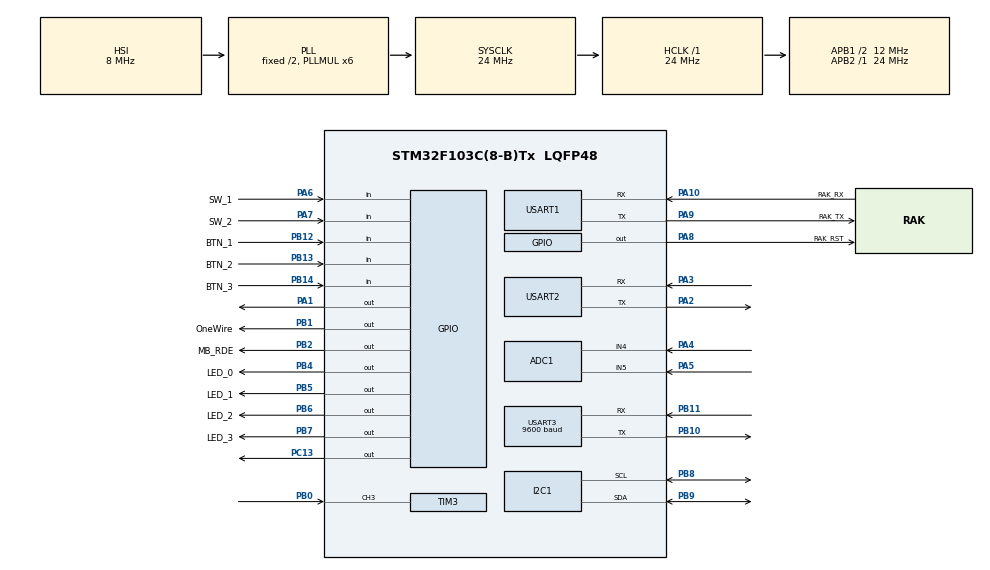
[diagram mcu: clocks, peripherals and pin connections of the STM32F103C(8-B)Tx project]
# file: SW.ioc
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ADC1.Channel-4\#ChannelRegularConversion=ADC_CHANNEL_4
ADC1.Channel-5\#ChannelRegularConversion=ADC_CHANNEL_5
ADC1.ContinuousConvMode=ENABLE
ADC1.DiscontinuousConvMode=DISABLE
ADC1.EnableRegularConversion=ENABLE
ADC1.NbrOfConversion=2
ADC1.NbrOfConversionFlag=1
ADC1.Rank-4\#ChannelRegularConversion=1
ADC1.Rank-5\#ChannelRegularConversion=2
ADC1.SamplingTime-4\#ChannelRegularConversion=ADC_SAMPLETIME_7CYCLES_5
ADC1.SamplingTime-5\#ChannelRegularConversion=ADC_SAMPLETIME_7CYCLES_5
ADC1.master=1
FREERTOS.HEAP_NUMBER=4
FREERTOS.MEMORY_ALLOCATION=2
FREERTOS.Tasks01=defaultTask,0,512,StartDefaultTask,Default,NULL,Static,defaultTaskBuffer,defaultTaskControlBlock
FREERTOS.configMAX_TASK_NAME_LEN=30
FREERTOS.configTOTAL_HEAP_SIZE=10240
FREERTOS.configUSE_TIMERS=1
I2C1.I2C_Mode=I2C_Standard
Mcu.Family=STM32F1
Mcu.Name=STM32F103C(8-B)Tx
Mcu.Package=LQFP48
NVIC.PriorityGroup=NVIC_PRIORITYGROUP_4
NVIC.TIM1_UP_IRQn=true\:0\:0\:false\:false\:true\:false\:false\:true
NVIC.TIM2_IRQn=true\:0\:0\:false\:false\:true\:true\:true\:true
NVIC.TIM3_IRQn=true\:0\:0\:false\:false\:true\:true\:true\:true
NVIC.TimeBase=TIM1_UP_IRQn
NVIC.TimeBaseIP=TIM1
NVIC.USART1_IRQn=true\:0\:0\:false\:false\:true\:true\:true\:true
NVIC.USART2_IRQn=true\:0\:0\:false\:false\:true\:true\:true\:true
NVIC.USART3_IRQn=true\:0\:0\:false\:false\:true\:true\:true\:true
PA1.Signal=GPIO_Output
PA10.GPIO_Label=RAK_RX
PA10.Mode=Asynchronous
PA10.Signal=USART1_RX
PA13.Mode=Serial_Wire
PA13.Signal=SYS_JTMS-SWDIO
PA14.Mode=Serial_Wire
PA14.Signal=SYS_JTCK-SWCLK
PA2.Mode=Asynchronous
PA2.Signal=USART2_TX
PA3.Mode=Asynchronous
PA3.Signal=USART2_RX
PA4.Signal=ADCx_IN4
PA5.Signal=ADCx_IN5
PA6.GPIO_Label=SW_1
PA6.Signal=GPIO_Input
PA7.GPIO_Label=SW_2
PA7.Signal=GPIO_Input
PA8.GPIO_Label=RAK_RST
PA8.PinState=GPIO_PIN_RESET
PA8.Signal=GPIO_Output
PA9.GPIO_Label=RAK_TX
PA9.Mode=Asynchronous
PA9.Signal=USART1_TX
PB0.Signal=S_TIM3_CH3
PB1.GPIO_Label=OneWire
PB1.Signal=GPIO_Output
PB10.Mode=Asynchronous
PB10.Signal=USART3_TX
PB11.Mode=Asynchronous
PB11.Signal=USART3_RX
PB12.GPIO_Label=BTN_1
PB12.GPIO_PuPd=GPIO_PULLUP
PB12.Signal=GPIO_Input
PB13.GPIO_Label=BTN_2
PB13.GPIO_PuPd=GPIO_PULLUP
PB13.Signal=GPIO_Input
PB14.GPIO_Label=BTN_3
PB14.GPIO_PuPd=GPIO_PULLUP
PB14.Signal=GPIO_Input
PB2.GPIO_Label=MB_RDE
PB2.GPIO_PuPd=GPIO_PULLUP
PB2.Signal=GPIO_Output
PB4.GPIO_Label=LED_0
PB4.Signal=GPIO_Output
PB5.GPIO_Label=LED_1
PB5.Signal=GPIO_Output
PB6.GPIO_Label=LED_2
PB6.Signal=GPIO_Output
PB7.GPIO_Label=LED_3
PB7.Signal=GPIO_Output
PB8.Mode=I2C
PB8.Signal=I2C1_SCL
PB9.Mode=I2C
PB9.Signal=I2C1_SDA
PC13-TAMPER-RTC.Signal=GPIO_Output
PC14-OSC32_IN.Mode=LSE-External-Oscillator
PC14-OSC32_IN.Signal=RCC_OSC32_IN
PC15-OSC32_OUT.Mode=LSE-External-Oscillator
PC15-OSC32_OUT.Signal=RCC_OSC32_OUT
PD0-OSC_IN.Mode=HSE-External-Oscillator
PD0-OSC_IN.Signal=RCC_OSC_IN
PD1-OSC_OUT.Mode=HSE-External-Oscillator
PD1-OSC_OUT.Signal=RCC_OSC_OUT
ProjectManager.HeapSize=0x200
ProjectManager.StackSize=0x400
ProjectManager.TargetToolchain=STM32CubeIDE
RCC.AHBFreq_Value=24000000
RCC.APB1CLKDivider=RCC_HCLK_DIV2
RCC.APB1Freq_Value=12000000
RCC.APB1TimFreq_Value=24000000
RCC.APB2Freq_Value=24000000
RCC.APB2TimFreq_Value=24000000
RCC.DATA_CACHE_ENABLE=1
RCC.HCLKFreq_Value=24000000
RCC.HSE_VALUE=12000000
RCC.INSTRUCTION_CACHE_ENABLE=1
RCC.PLLMUL=RCC_PLL_MUL6
RCC.PWR_Regulator_Voltage_Scale=PWR_REGULATOR_VOLTAGE_SCALE1
RCC.RTCClockSelection=RCC_RTCCLKSOURCE_LSE
RCC.SYSCLKFreq_VALUE=24000000
RCC.SYSCLKSource=RCC_SYSCLKSOURCE_PLLCLK
RCC.USBFreq_Value=24000000
SH.ADCx_IN4.0=ADC1_IN4,IN4
SH.ADCx_IN5.0=ADC1_IN5,IN5
SH.S_TIM3_CH3.0=TIM3_CH3,Input_Capture3_from_TI3
TIM2.Period=49
TIM2.Prescaler=23
TIM3.Channel-Input_Capture3_from_TI3=TIM_CHANNEL_3
TIM3.Period=0xffff-1
TIM3.Prescaler=0
TIM4.Period=0xffff -1
TIM4.Prescaler=24-1
USART1.VirtualMode=VM_ASYNC
USART2.VirtualMode=VM_ASYNC
USART3.BaudRate=9600
USART3.VirtualMode=VM_ASYNC
VP_ADC1_TempSens_Input.Mode=IN-TempSens
VP_FREERTOS_VS_CMSIS_V1.Mode=CMSIS_V1
VP_SYS_VS_tim1.Mode=TIM1
VP_TIM2_VS_ClockSourceINT.Mode=Internal
VP_TIM3_VS_ClockSourceINT.Mode=Internal
VP_TIM4_VS_ClockSourceINT.Mode=Internal
board=custom

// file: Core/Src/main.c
/* USER CODE BEGIN Header */
/**
 ******************************************************************************
 * @file           : main.c
 * @brief          : Main program body
 ******************************************************************************
 * @attention
 *
 * <h2><center>&copy; Copyright (c) 2020 STMicroelectronics.
 * All rights reserved.</center></h2>
 *
 * This software component is licensed by ST under Ultimate Liberty license
 * SLA0044, the "License"; You may not use this file except in compliance with
 * the License. You may obtain a copy of the License at:
 *                             www.st.com/SLA0044
 *
 ******************************************************************************
 */
/* USER CODE END Header */

#include "main.h"
#include "cmsis_os.h"
#include "adc.h"
#include "i2c.h"
#include "tim.h"
#include "usart.h"
#include "gpio.h"

/* USER CODE BEGIN Includes */
#include "param.h"
/* USER CODE END Includes */

/* USER CODE BEGIN PV */
uint8_t PRINTF_EN = 1;
/* USER CODE END PV */

void SystemClock_Config(void);
void MX_FREERTOS_Init(void);
/* USER CODE BEGIN PFP */
void v_led_start(void);
/* USER CODE END PFP */

int main(void)
{

  /* MCU Configuration--------------------------------------------------------*/

  /* Reset of all peripherals, Initializes the Flash interface and the Systick. */
  HAL_Init();

  /* Configure the system clock */
  SystemClock_Config();

  /* Initialize all configured peripherals */
  MX_GPIO_Init();
  MX_ADC1_Init();
  MX_USART1_UART_Init();
  MX_USART2_UART_Init();
  MX_USART3_UART_Init();
  MX_TIM4_Init();
  MX_TIM3_Init();
  MX_I2C1_Init();
  MX_TIM2_Init();
  /* USER CODE BEGIN 2 */
	HAL_GPIO_WritePin(GPIOA, GPIO_PIN_8, RESET);
	HAL_Delay(10);
	HAL_GPIO_WritePin(GPIOA, GPIO_PIN_8, SET);
	/*Force to enable periphral manually */
	char *p = "NTT \r\n";
	__HAL_UART_ENABLE_IT(&huart2, UART_IT_RXNE);
	HAL_UART_Transmit(&huart1,p,6,100);
	HAL_UART_Transmit(&huart3,p,6,100);
	printf("---------- IOT Node ----------  \r\n");

	/*Load pre-paramter from eepROm*/
	printf(" Loading pre-configuration from EEPROM !!  \r\n");
	v_epr_load(PARAM_LOAD_ALL);

	if ((PARAM[NODE_HAVE_PARAM_ADR] == EEP_PARAM)||(PARAM[NODE_HAVE_PARAM_ADR] == FLASH_PARAM)) {

		/* Found pre-param from eeprom and apply it*/
		printf(" pre-configuration from EEPROM: %d  \r\n",PARAM[NODE_HAVE_PARAM_ADR]);
		USER_USART3_UART_Init(); // Modbus re-config
	}

	else
	{
		printf(
				" Fail to find pre-configuration. Load defaul config instead.  \r\n");
		/* Load default config**/
		PARAM[NODE_HAVE_PARAM_ADR] = FLASH_PARAM;
		PARAM[NODE_ID_ADR] = NODE_ID_ADR_DEFAULT;
		PARAM[NODE_MB_ID_ADR] = NODE_MB_ID_DEFAULT;
		v_epr_save(PARAM_LOAD_ALL);
		/*Notify to the Led and jump in to vAppConfiguationTask !!**/

	}

	/* Print the configuration before jump into RTOS*/

	DBG("\r\nParam type   %d \r\n",PARAM[NODE_HAVE_PARAM_ADR]  );
	DBG("GATEWAY ID	     %d \r\n",PARAM[NODE_ID_ADR]  );
	DBG("\r\GATEWAY BAUD    %d \r\n",PARAM[NODE_MB_BAUD_ADR]);
	DBG("GATEWAY Databit    %d \r\n",PARAM[NODE_MB_DATABITS_ADR]);
	DBG("GATEWAY stopbit    %d \r\n",PARAM[NODE_MB_STOPBITS_ADR]);
	DBG("GATEWAY parity    %d \r\n",PARAM[NODE_MB_PARTITY_ADR]);

	DBG("\r\nChannel 1 BAUD    %d \r\n",PARAM[NODE_CHANEL_1_BAUD]);
	DBG("Channel 1 Databit    %d \r\n",PARAM[NODE_CHANEL_1_DATABITS]);
	DBG("Channel 1 stopbit    %d \r\n",PARAM[NODE_CHANEL_1_STOPBIT]);
	DBG("Channel 1 parity    %d \r\n",PARAM[NODE_CHANEL_1_PARITY]);

//	DBG("\r\nDevicID_1    %d \r\n",PARAM[NODE_CHANNEL_1_BASE]);
//	DBG("Channel 1 FC_1    %d \r\n",PARAM[NODE_CHANNEL_1_BASE + 1]);

//	int16toint8 RegAdr;
//	RegAdr.i8data[0] = PARAM[NODE_CHANNEL_1_BASE + 2];
//	RegAdr.i8data[1] = PARAM[NODE_CHANNEL_1_BASE + 3];
//	DBG("Device 1 REGADR    %d \r\n",RegAdr.i16data);
//
//	DBG("\r\nChannel 1 ID_2    %d \r\n",PARAM[NODE_CHANNEL_1_BASE + 4]);
//	DBG("Channel 1 FC_2    %d \r\n",PARAM[NODE_CHANNEL_1_BASE + 5]);

//	for (uint8_t i = 40; i<70 ; i++)
//	{
//		u_mem_set(i,0);
//		v_epr_save(i);
//		//DBG("\r\nID   %d \r\n",PARAM[i]);
//
//	}
	for (uint8_t i = 50 ; i< 100 ; i++)
	{
		DBG("\r\nValue at %d   %d \r\n",i , PARAM[i]);
	}
//	v_epr_save(PARAM_LOAD_ALL);

	//DBG("\r\nID_2    %d \r\n",PARAM[NODE_CHANNEL_1_BASE + 4]);

  /* USER CODE END 2 */

  /* Call init function for freertos objects (in freertos.c) */
  printf("\r\nBooting to RTOS   \r\n");
  MX_FREERTOS_Init();
  /* Start scheduler */
  osKernelStart();

  /* We should never get here as control is now taken by the scheduler */
  /* Infinite loop */
	while (1) {

	}
}

void SystemClock_Config(void)
{
  RCC_OscInitTypeDef RCC_OscInitStruct = {0};
  RCC_ClkInitTypeDef RCC_ClkInitStruct = {0};
  RCC_PeriphCLKInitTypeDef PeriphClkInit = {0};

  /** Initializes the CPU, AHB and APB busses clocks
  */
  RCC_OscInitStruct.OscillatorType = RCC_OSCILLATORTYPE_HSI;
  RCC_OscInitStruct.HSIState = RCC_HSI_ON;
  RCC_OscInitStruct.HSICalibrationValue = RCC_HSICALIBRATION_DEFAULT;
  RCC_OscInitStruct.PLL.PLLState = RCC_PLL_ON;
  RCC_OscInitStruct.PLL.PLLSource = RCC_PLLSOURCE_HSI_DIV2;
  RCC_OscInitStruct.PLL.PLLMUL = RCC_PLL_MUL6;
  if (HAL_RCC_OscConfig(&RCC_OscInitStruct) != HAL_OK)
  {
    Error_Handler();
  }
  /** Initializes the CPU, AHB and APB busses clocks
  */
  RCC_ClkInitStruct.ClockType = RCC_CLOCKTYPE_HCLK|RCC_CLOCKTYPE_SYSCLK
                              |RCC_CLOCKTYPE_PCLK1|RCC_CLOCKTYPE_PCLK2;
  RCC_ClkInitStruct.SYSCLKSource = RCC_SYSCLKSOURCE_PLLCLK;
  RCC_ClkInitStruct.AHBCLKDivider = RCC_SYSCLK_DIV1;
  RCC_ClkInitStruct.APB1CLKDivider = RCC_HCLK_DIV2;
  RCC_ClkInitStruct.APB2CLKDivider = RCC_HCLK_DIV1;

  if (HAL_RCC_ClockConfig(&RCC_ClkInitStruct, FLASH_LATENCY_0) != HAL_OK)
  {
    Error_Handler();
  }
  PeriphClkInit.PeriphClockSelection = RCC_PERIPHCLK_ADC;
  PeriphClkInit.AdcClockSelection = RCC_ADCPCLK2_DIV2;
  if (HAL_RCCEx_PeriphCLKConfig(&PeriphClkInit) != HAL_OK)
  {
    Error_Handler();
  }
}

/* USER CODE BEGIN 4 */
void delay_us(uint32_t time) {
	/* */
	__HAL_TIM_SET_COUNTER(&htim4, 0);
	while (__HAL_TIM_GET_COUNTER(&htim4) < time);
}

/* USER CODE BEGIN 4 */
PUTCHAR_PROTOTYPE {
	/* Place your implementation of fputc here */
	/* e.g. write a character to the USART */
//  USART_SendData(EVAL_COM1, (uint8_t) ch);
	HAL_UART_Transmit(&huart2, (uint8_t *) &ch, 1, 0xFFFF);

	/* Loop until the end of transmission */
//  while (USART_GetFlagStatus(EVAL_COM1, USART_FLAG_TC) == RESET)
//  {}
	return ch;
}

void v_led_start(void) {

	for (uint8_t num = 0; num < 15; num++) {
		HAL_GPIO_TogglePin(LED_0_GPIO_Port, LED_3_Pin);
		HAL_Delay(50);
		HAL_GPIO_TogglePin(LED_0_GPIO_Port, LED_2_Pin);
		HAL_Delay(50);
		HAL_GPIO_TogglePin(LED_0_GPIO_Port, LED_1_Pin);
		HAL_Delay(50);
		HAL_GPIO_TogglePin(LED_0_GPIO_Port, LED_0_Pin);
		HAL_Delay(50);

	}
}
/* USER CODE END 4 */

 /**
  * @brief  Period elapsed callback in non blocking mode
  * @note   This function is called  when TIM1 interrupt took place, inside
  * HAL_TIM_IRQHandler(). It makes a direct call to HAL_IncTick() to increment
  * a global variable "uwTick" used as application time base.
  * @param  htim : TIM handle
  * @retval None
  */
void HAL_TIM_PeriodElapsedCallback(TIM_HandleTypeDef *htim)
{
  if (htim->Instance == TIM1) {
    HAL_IncTick();
  }
}

void Error_Handler(void)
{
}

/************************ (C) COPYRIGHT STMicroelectronics *****END OF FILE****/

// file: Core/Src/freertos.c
/* USER CODE BEGIN Header */
/**
 ******************************************************************************
 * File Name          : freertos.c
 * Description        : Code for freertos applications
 ******************************************************************************
 * @attention
 *
 * <h2><center>&copy; Copyright (c) 2020 STMicroelectronics.
 * All rights reserved.</center></h2>
 *
 * This software component is licensed by ST under Ultimate Liberty license
 * SLA0044, the "License"; You may not use this file except in compliance with
 * the License. You may obtain a copy of the License at:
 *                             www.st.com/SLA0044
 *
 ******************************************************************************
 */
/* USER CODE END Header */

#include "FreeRTOS.h"
#include "task.h"
#include "main.h"
#include "cmsis_os.h"

/* USER CODE BEGIN Includes */
#include "app.h"
#include "mb.h"
#include "mbport.h"
#include "param.h"
/* USER CODE END Includes */

/* USER CODE BEGIN Variables */
osTimerId myTimer01Handle;
/* USER CODE END Variables */
osThreadId defaultTaskHandle;
uint32_t defaultTaskBuffer[ 512 ];
osStaticThreadDef_t defaultTaskControlBlock;

/* USER CODE BEGIN FunctionPrototypes */
void Callback01(void);
/* USER CODE END FunctionPrototypes */

void StartDefaultTask(void const * argument);

void MX_FREERTOS_Init(void); /* (MISRA C 2004 rule 8.1) */

/* GetIdleTaskMemory prototype (linked to static allocation support) */
void vApplicationGetIdleTaskMemory( StaticTask_t **ppxIdleTaskTCBBuffer, StackType_t **ppxIdleTaskStackBuffer, uint32_t *pulIdleTaskStackSize );

/* GetTimerTaskMemory prototype (linked to static allocation support) */
void vApplicationGetTimerTaskMemory( StaticTask_t **ppxTimerTaskTCBBuffer, StackType_t **ppxTimerTaskStackBuffer, uint32_t *pulTimerTaskStackSize );

/* USER CODE BEGIN GET_IDLE_TASK_MEMORY */
static StaticTask_t xIdleTaskTCBBuffer;
static StackType_t xIdleStack[configMINIMAL_STACK_SIZE];

void vApplicationGetIdleTaskMemory(StaticTask_t **ppxIdleTaskTCBBuffer,
		StackType_t **ppxIdleTaskStackBuffer, uint32_t *pulIdleTaskStackSize) {
	*ppxIdleTaskTCBBuffer = &xIdleTaskTCBBuffer;
	*ppxIdleTaskStackBuffer = &xIdleStack[0];
	*pulIdleTaskStackSize = configMINIMAL_STACK_SIZE;
	/* place for user code */
}
/* USER CODE END GET_IDLE_TASK_MEMORY */

/* USER CODE BEGIN GET_TIMER_TASK_MEMORY */
static StaticTask_t xTimerTaskTCBBuffer;
static StackType_t xTimerStack[configTIMER_TASK_STACK_DEPTH];

void vApplicationGetTimerTaskMemory( StaticTask_t **ppxTimerTaskTCBBuffer, StackType_t **ppxTimerTaskStackBuffer, uint32_t *pulTimerTaskStackSize )
{
  *ppxTimerTaskTCBBuffer = &xTimerTaskTCBBuffer;
  *ppxTimerTaskStackBuffer = &xTimerStack[0];
  *pulTimerTaskStackSize = configTIMER_TASK_STACK_DEPTH;
  /* place for user code */
}
/* USER CODE END GET_TIMER_TASK_MEMORY */

void MX_FREERTOS_Init(void) {

  /* USER CODE BEGIN RTOS_TIMERS */
	/* start timers, add new ones, ... */
//	  osTimerDef(myTimer01, Callback01);
//	  myTimer01Handle = osTimerCreate(osTimer(myTimer01), osTimerPeriodic, NULL);
  /* USER CODE END RTOS_TIMERS */

  /* Create the thread(s) */
  /* definition and creation of defaultTask */
  osThreadStaticDef(defaultTask, StartDefaultTask, osPriorityNormal, 0, 512, defaultTaskBuffer, &defaultTaskControlBlock);
  defaultTaskHandle = osThreadCreate(osThread(defaultTask), NULL);

}

void StartDefaultTask(void const * argument)
{
  /* USER CODE BEGIN StartDefaultTask */
	/*Jump to app layer*/
	vAppDefault();

	if (u_mem_get(NODE_HAVE_PARAM_ADR) == TRUE) {
		/*Start node normally*/
		vAppDefault();
	} else {
		vAppConfiguration();
	}

	/* Infinite loop */
	for (;;) {
		osDelay(1);
	}
  /* USER CODE END StartDefaultTask */
}

/* USER CODE BEGIN Application */
//void Callback01(void) {
//	pxMBPortCBTimerExpired();
//}
/* USER CODE END Application */

/************************ (C) COPYRIGHT STMicroelectronics *****END OF FILE****/
